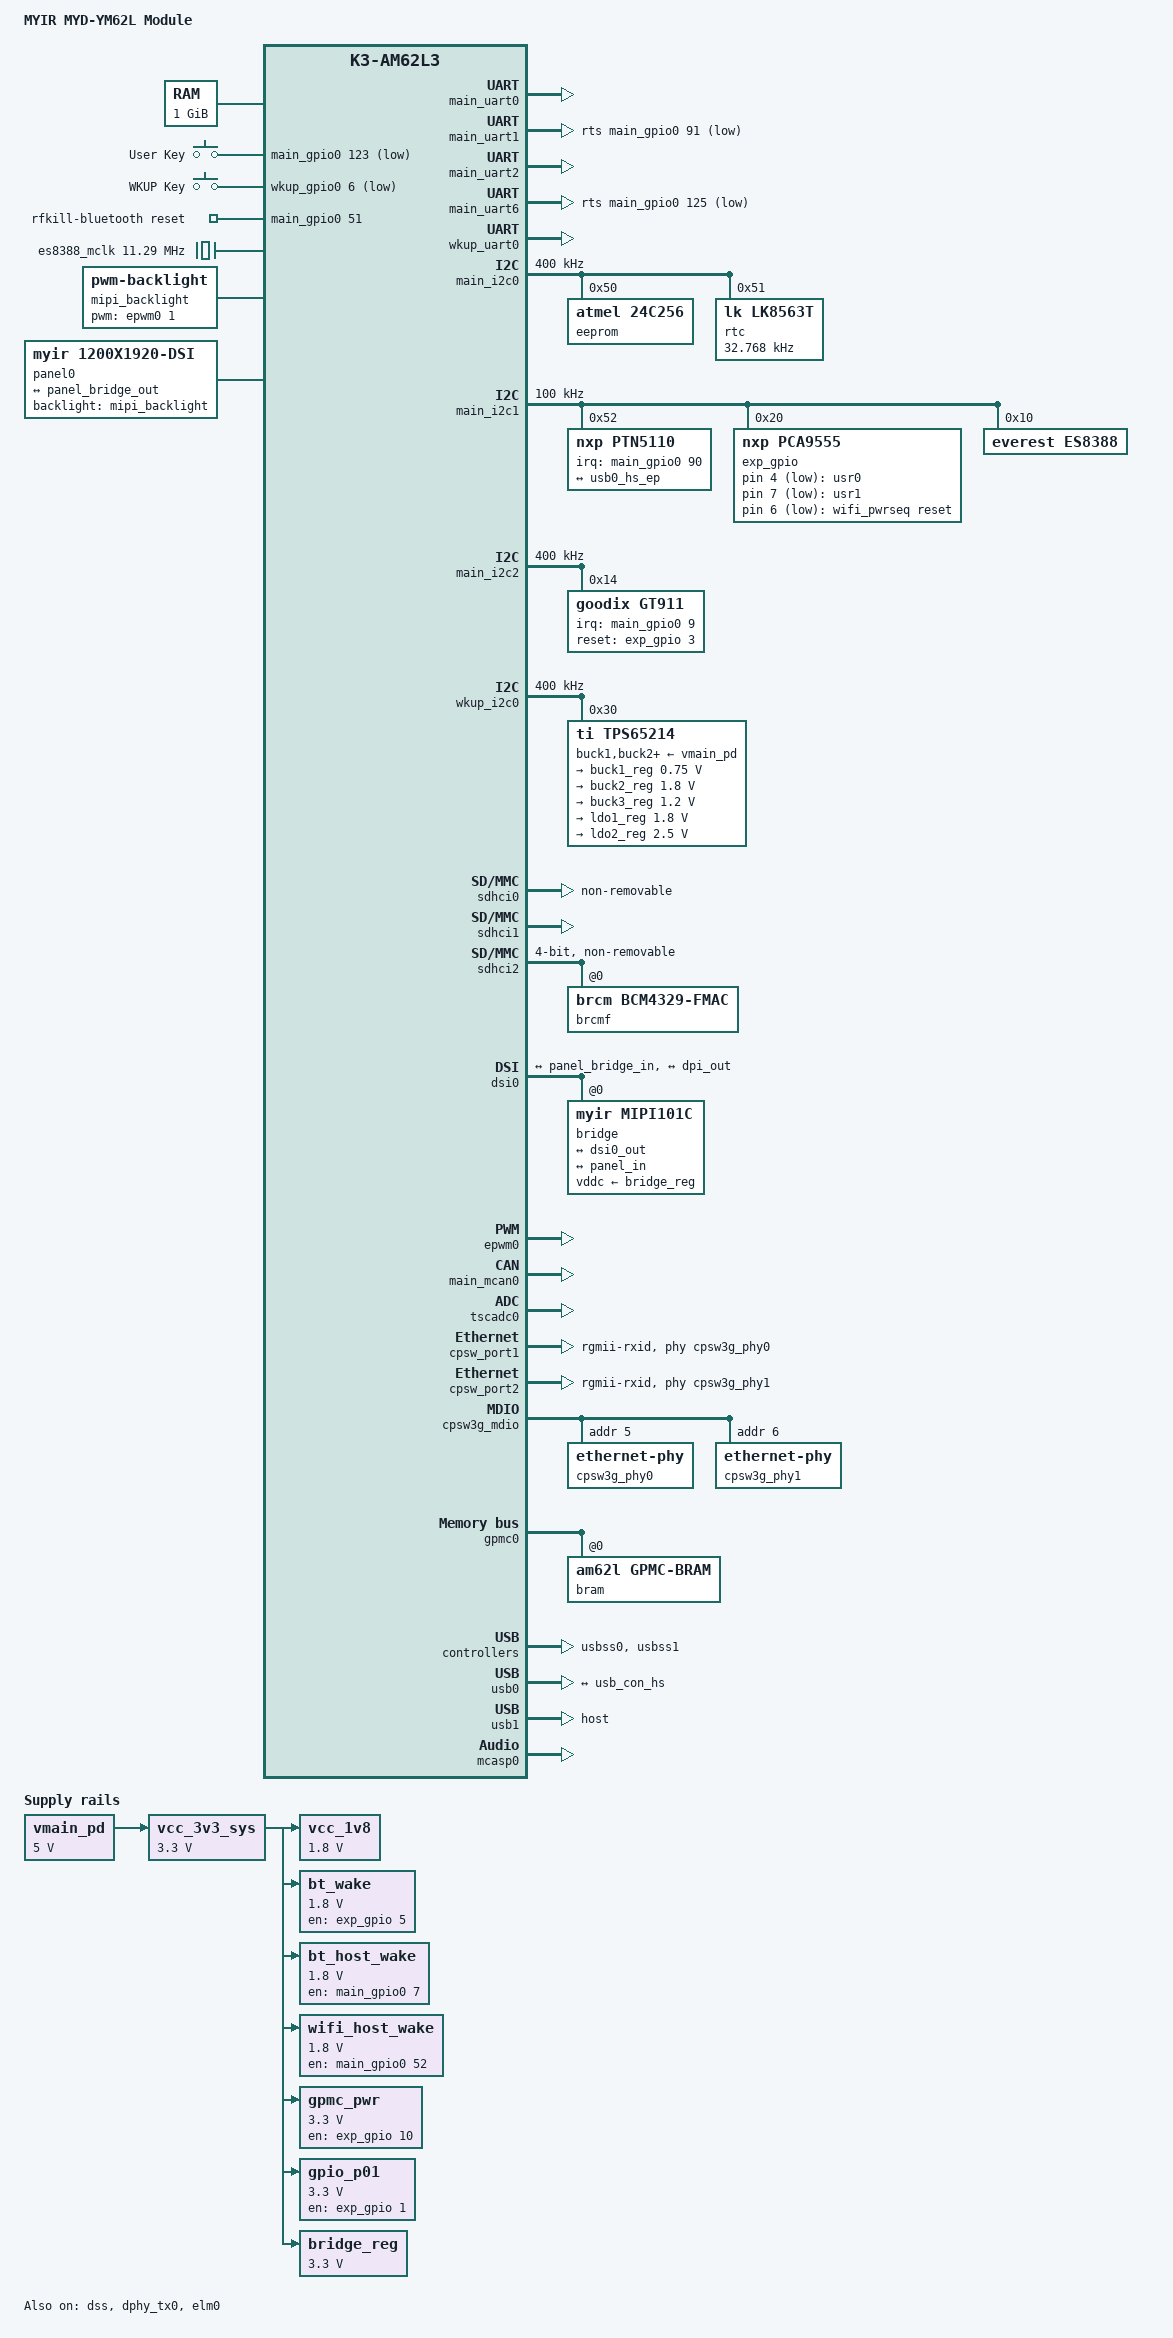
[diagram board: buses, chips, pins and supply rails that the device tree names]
// SPDX-License-Identifier: GPL-2.0-only or MIT
/*
 * Device Tree file for the MYD-YM62LX Module
 * Copyright (C) 2025 MYIR
 *
 * www.myir.cn
 */

/dts-v1/;

#include <dt-bindings/usb/pd.h>
#include <dt-bindings/gpio/gpio.h>
#include <dt-bindings/input/input.h>
#include <dt-bindings/leds/common.h>
#include <dt-bindings/net/ti-dp83867.h>
#include <dt-bindings/pwm/pwm.h>
#include "k3-am62l3.dtsi"
#include "k3-pinctrl.h"

/ {
	compatible = "ti,am62l3-evm", "ti,am62l3";
	model = "MYIR MYD-YM62L Module";

	aliases {
		mmc0 = &sdhci0;
		mmc1 = &sdhci1;
		mmc2 = &sdhci2;
	};

	chosen {
		stdout-path = &main_uart0;
	};

	memory@80000000 {
		reg = <0x00000000 0x80000000 0x00000000 0x40000000>;
		device_type = "memory";
		bootph-all;
	};

	usr_keys: usr-keys {
		compatible = "gpio-keys";
		autorepeat;
		pinctrl-names = "default";
		pinctrl-0 = <&usr_button_pins_default>;

		usr: button-usr {
			label = "User Key";
			linux,code = <BTN_0>;
			gpios = <&main_gpio0 123 GPIO_ACTIVE_LOW>;
		};
	};

	wkup_keys: wkup-keys {
		compatible = "gpio-keys";
		autorepeat;
		pinctrl-names = "default";
		pinctrl-0 = <&wkup_button_pins_default>;

		wkup: button-wkup {
			label = "WKUP Key";
			linux,code = <KEY_WAKEUP>;
			gpios = <&wkup_gpio0 6 GPIO_ACTIVE_LOW>;
		};
	};

	leds {
		compatible = "gpio-leds";

		led-0 {
			label = "usr0";
			gpios = <&exp_gpio 4 GPIO_ACTIVE_LOW>;
			linux,default-trigger = "heartbeat";
			function = LED_FUNCTION_HEARTBEAT;
			default-state = "on";
		};

		led-1 {
			label = "usr1";
			gpios = <&exp_gpio 7 GPIO_ACTIVE_LOW>;
			linux,default-trigger = "heartbeat";
			function = LED_FUNCTION_HEARTBEAT;
			default-state = "on";
		};
	};

	vmain_pd: regulator-0 {
		/* TPS65988 PD CONTROLLER OUTPUT */
		bootph-all;
		compatible = "regulator-fixed";
		regulator-name = "vmain_pd";
		regulator-min-microvolt = <5000000>;
		regulator-max-microvolt = <5000000>;
		regulator-always-on;
		regulator-boot-on;
	};

	vcc_3v3_sys: regulator-1 {
		/* output of LM61460-Q1 */
		compatible = "regulator-fixed";
		regulator-name = "vcc_3v3_sys";
		regulator-min-microvolt = <3300000>;
		regulator-max-microvolt = <3300000>;
		vin-supply = <&vmain_pd>;
		regulator-always-on;
		regulator-boot-on;
	};

	vcc_1v8: regulator-3 {
		/* output of TPS6282518DMQ */
		compatible = "regulator-fixed";
		regulator-name = "vcc_1v8";
		regulator-min-microvolt = <1800000>;
		regulator-max-microvolt = <1800000>;
		vin-supply = <&vcc_3v3_sys>;
		regulator-always-on;
		regulator-boot-on;
	};

	bt_wake: regulator-4 {
		compatible = "regulator-fixed";
		regulator-name = "bt_wake";
		regulator-min-microvolt = <1800000>;
		regulator-max-microvolt = <1800000>;
		enable-active-high;
		regulator-always-on;
		regulator-boot-on;
		vin-supply = <&vcc_3v3_sys>;
		gpios = <&exp_gpio 5 GPIO_ACTIVE_HIGH>;
	};

	bt_host_wake: regulator-5 {
		compatible = "regulator-fixed";
		regulator-name = "bt_host_wake";
		regulator-min-microvolt = <1800000>;
		regulator-max-microvolt = <1800000>;
		enable-active-high;
		regulator-always-on;
		regulator-boot-on;
		vin-supply = <&vcc_3v3_sys>;
		gpios = <&main_gpio0 7 GPIO_ACTIVE_HIGH>;
		pinctrl-names = "default";
		pinctrl-0 = <&bt_host_wake_pins_default>;
	};

	wifi_host_wake: regulator-6 {
		compatible = "regulator-fixed";
		regulator-name = "wifi_host_wake";
		regulator-min-microvolt = <1800000>;
		regulator-max-microvolt = <1800000>;
		enable-active-high;
		regulator-always-on;
		regulator-boot-on;
		vin-supply = <&vcc_3v3_sys>;
		gpios = <&main_gpio0 52 GPIO_ACTIVE_HIGH>;
		pinctrl-names = "default";
		pinctrl-0 = <&wlan_gpio_pins_default>;
	};

	gpmc_pwr: regulator-7 {
		compatible = "regulator-fixed";
		regulator-name = "gpmc_pwr";
		regulator-min-microvolt = <3300000>;
		regulator-max-microvolt = <3300000>;
		enable-active-high;
		regulator-always-on;
		regulator-boot-on;
		vin-supply = <&vcc_3v3_sys>;
		gpios = <&exp_gpio 10 GPIO_ACTIVE_HIGH>;
	};

	gpio_p01: regulator-8 {
		compatible = "regulator-fixed";
		regulator-name = "gpio_p01";
		regulator-min-microvolt = <3300000>;
		regulator-max-microvolt = <3300000>;
		enable-active-high;
		regulator-always-on;
		regulator-boot-on;
		vin-supply = <&vcc_3v3_sys>;
		gpios = <&exp_gpio 1 GPIO_ACTIVE_HIGH>;
	};

	bridge_reg: bridge-regulator {
		compatible = "regulator-fixed";
		regulator-name = "bridge_reg";
		regulator-min-microvolt = <3300000>;
		regulator-max-microvolt = <3300000>;
		enable-active-high;
		regulator-always-on;
		regulator-boot-on;
		vin-supply = <&vcc_3v3_sys>;
	};

	rfkill {
		compatible = "rfkill-gpio";
		label = "rfkill-bluetooth";
		radio-type = "bluetooth";
		reset-gpios = <&main_gpio0 51 GPIO_ACTIVE_HIGH>;
		pinctrl-names = "default";
		pinctrl-0 = <&bt_rst_pins_default>;
	};

	wifi_pwrseq: wifi-pwrseq {
		compatible = "mmc-pwrseq-simple";
		reset-gpios = <&exp_gpio 6 GPIO_ACTIVE_LOW>;
	};

	es8388_mclk: clk-0 {
		#clock-cells = <0>;
		compatible = "fixed-clock";
		clock-frequency = <11289600>;
	};

	codec_audio: sound {
		compatible = "simple-audio-card";
		simple-audio-card,name = "AM62L-SKEVM";
		simple-audio-card,widgets =
			"Headphone",	"Headphone Jack",
			"Line",		"Line In",
			"Microphone",	"Microphone Jack";
		simple-audio-card,routing =
			"Headphone Jack", "LOUT1",
			"Headphone Jack", "ROUT1",
			"LINPUT1", "Headphone Jack",
			"RINPUT1", "Headphone Jack",
			"Microphone Jack",	"Mic Bias";
		simple-audio-card,format = "i2s";
		simple-audio-card,bitclock-master = <&sound_master>;
		simple-audio-card,frame-master = <&sound_master>;

		simple-audio-card,cpu {
			sound-dai = <&mcasp0>;
		};

		sound_master: simple-audio-card,codec {
			sound-dai = <&es8388>;
			clocks = <&es8388_mclk>;
		};
	};

	mipi_backlight: mipi-backlight {
		compatible = "pwm-backlight";
		pwms = <&epwm0 1 50000 0>;
		status = "okay";
		brightness-levels =
			< 0  1  2  3  4  5  6  7  8  9
			10 11 12 13 14 15 16 17 18 19
			20 21 22 23 24 25 26 27 28 29
			30 31 32 33 34 35 36 37 38 39
			40 41 42 43 44 45 46 47 48 49
			50 51 52 53 54 55 56 57 58 59
			60 61 62 63 64 65 66 67 68 69
			70 71 72 73 74 75 76 77 78 79
			80 81 82 83 84 85 86 87 88 89
			90 91 92 93 94 95 96 97 98 99
			100>;
		default-brightness-level = <80>;
	};

	panel0 {
		compatible = "myir,1200x1920-dsi";
		backlight = <&mipi_backlight>;

		port {
			panel_in: endpoint {
				remote-endpoint = <&panel_bridge_out>;
			};
		};
	};
};

&pmx0 {
	wkup_uart0_pins_default: wkup-uart0-default-pins {
		pinctrl-single,pins = <
			AM62LX_IOPAD(0x0008, PIN_INPUT, 0) /* (W23) WKUP_UART0_CTSn */
			AM62LX_IOPAD(0x000c, PIN_OUTPUT, 0) /* (W22) WKUP_UART0_RTSn */
			AM62LX_IOPAD(0x0000, PIN_INPUT, 0) /* (Y22) WKUP_UART0_RXD */
			AM62LX_IOPAD(0x0004, PIN_OUTPUT, 0) /* (AA23) WKUP_UART0_TXD */
		>;
		bootph-all;
	};

	main_uart0_pins_default: main-uart0-default-pins {
		pinctrl-single,pins = <
			AM62LX_IOPAD(0x01b4, PIN_INPUT, 0)	/* (D13) UART0_RXD */
			AM62LX_IOPAD(0x01b8, PIN_OUTPUT, 0)	/* (C13) UART0_TXD */
		>;
		bootph-all;
	};

	main_uart1_pins_default: main-uart1-default-pins {
		pinctrl-single,pins = <
			AM62LX_IOPAD(0x0198, PIN_INPUT, 2) /* (C11) MCASP0_AFSR.UART1_RXD */
			AM62LX_IOPAD(0x019c, PIN_OUTPUT, 2) /* (A12) MCASP0_ACLKR.UART1_TXD */
		>;
		bootph-all;
	};

	main_uart1_rts_pins_default: main-uart1-rts-default-pins {
		pinctrl-single,pins = <
			AM62LX_IOPAD(0x01b0, PIN_OUTPUT, 7) /* (B12) SPI0_D1.GPIO0_91 */
		>;
		bootph-all;
	};

	main_uart2_pins_default: main-uart2-default-pins {
		pinctrl-single,pins = <
			AM62LX_IOPAD(0x01bc, PIN_INPUT, 3) /* (B14) UART0_CTSn.UART2_RXD */
			AM62LX_IOPAD(0x01c0, PIN_OUTPUT, 3) /* (B13) UART0_RTSn.UART2_TXD */
		>;
		bootph-all;
	};

	main_uart6_pins_default: main-uart6-default-pins {
		pinctrl-single,pins = <
			AM62LX_IOPAD(0x0180, PIN_INPUT, 3) /* (A8) MCASP0_AXR3.UART6_RXD */
			AM62LX_IOPAD(0x0184, PIN_OUTPUT, 3) /* (B10) MCASP0_AXR2.UART6_TXD */
		>;
		bootph-all;
	};

	main_uart6_rts_pins_default: main-uart6-rts-default-pins {
		pinctrl-single,pins = <
			AM62LX_IOPAD(0x0248, PIN_OUTPUT, 7) /* (A5) USB1_DRVVBUS.GPIO0_125 */
		>;
		bootph-all;
	};

	wkup_i2c0_pins_default: wkup-i2c0-default-pins {
		pinctrl-single,pins = <
			AM62LX_IOPAD(0x0010, PIN_INPUT_PULLUP, 0) /* (AB22) WKUP_I2C0_SCL */
			AM62LX_IOPAD(0x0014, PIN_INPUT_PULLUP, 0) /* (AA22) WKUP_I2C0_SDA */
		>;
	};

	main_i2c0_pins_default: main-i2c0-default-pins {
		pinctrl-single,pins = <
			AM62LX_IOPAD(0x01cc, PIN_INPUT_PULLUP, 0) /* (B7) I2C0_SCL */
			AM62LX_IOPAD(0x01d0, PIN_INPUT_PULLUP, 0) /* (A7) I2C0_SDA */
		>;
		bootph-all;
	};

	main_i2c1_pins_default: main-i2c1-default-pins {
		pinctrl-single,pins = <
			AM62LX_IOPAD(0x01d4, PIN_INPUT_PULLUP, 0) /* (D7) I2C1_SCL */
			AM62LX_IOPAD(0x01d8, PIN_INPUT_PULLUP, 0) /* (A6) I2C1_SDA */
		>;
		bootph-all;
	};

	main_i2c2_pins_default: main-i2c2-default-pins {
		pinctrl-single,pins = <
			AM62LX_IOPAD(0x01dc, PIN_INPUT_PULLUP, 0) /* (B8) I2C2_SCL */
			AM62LX_IOPAD(0x01e0, PIN_INPUT_PULLUP, 0) /* (D8) I2C2_SDA */
		>;
	};

	ospi0_pins_default: ospi0-default-pins {
		bootph-all;
		pinctrl-single,pins = <
			AM62LX_IOPAD(0x003c, PIN_OUTPUT, 0) /* (D22) OSPI0_CLK */
			AM62LX_IOPAD(0x0068, PIN_OUTPUT, 0) /* (C20) OSPI0_CSn0 */
			AM62LX_IOPAD(0x0048, PIN_INPUT, 0) /* (C22) OSPI0_D0 */
			AM62LX_IOPAD(0x004c, PIN_INPUT, 0) /* (D21) OSPI0_D1 */
			AM62LX_IOPAD(0x0050, PIN_INPUT, 0) /* (E23) OSPI0_D2 */
			AM62LX_IOPAD(0x0054, PIN_INPUT, 0) /* (D23) OSPI0_D3 */
		>;
	};

	main_gpio0_ioexp_intr_pins_default: main-gpio0-ioexp-intr-default-pins {
		pinctrl-single,pins = <
			AM62LX_IOPAD(0x01b0, PIN_INPUT, 7) /* (B12) SPI0_D1.GPIO0_91 */
		>;
		bootph-all;
	};

	typec1_int_pins_default: typec1-int-default-pins {
		pinctrl-single,pins = <
			AM62LX_IOPAD(0x01ac, PIN_INPUT, 7) /* (E12) SPI0_D0.GPIO0_90 */
		>;
	};

	usr_button_pins_default: usr-button-default-pins {
		pinctrl-single,pins = <
			AM62LX_IOPAD(0x0238, PIN_INPUT, 7) /* (D24) MMC1_SDWP.GPIO0_123 */
		>;
	};

	wkup_button_pins_default: wkup-button-default-pins {
		pinctrl-single,pins = <
			AM62LX_IOPAD(0x0018, PIN_INPUT, 7) /* (Y23) WKUP_CLKOUT0.GPIO0_6 */
		>;
	};

	bt_host_wake_pins_default: bt-host-wake-default-pins {
		pinctrl-single,pins = <
			AM62LX_IOPAD(0x0058, PIN_INPUT, 7) /* (F21) OSPI0_D4.GPIO0_7 */
		>;
	};

	bt_rst_pins_default: bt-rst-default-pins {
		pinctrl-single,pins = <
			AM62LX_IOPAD(0x0110, PIN_INPUT, 7) /* (T20) MMC2_SDCD.GPIO0_51 */
		>;
	};

	pmic_irq_pins_default: pmic-irq-default-pins {
		pinctrl-single,pins = <
			AM62LX_IOPAD(0x01e8, PIN_INPUT, 0) /* (C8) EXTINTn */
		>;
	};

	main_mmc0_pins_default: main-mmc0-default-pins {
		pinctrl-single,pins = <
			AM62LX_IOPAD(0x0214, PIN_INPUT_PULLUP, 0) /* (D2) MMC0_CMD */
			AM62LX_IOPAD(0x020c, PIN_OUTPUT, 0) /* (B2) MMC0_CLK */
			AM62LX_IOPAD(0x0208, PIN_INPUT_PULLUP, 0) /* (D3) MMC0_DAT0 */
			AM62LX_IOPAD(0x0204, PIN_INPUT_PULLUP, 0) /* (D4) MMC0_DAT1 */
			AM62LX_IOPAD(0x0200, PIN_INPUT_PULLUP, 0) /* (C1) MMC0_DAT2 */
			AM62LX_IOPAD(0x01fc, PIN_INPUT_PULLUP, 0) /* (C2) MMC0_DAT3 */
			AM62LX_IOPAD(0x01f8, PIN_INPUT_PULLUP, 0) /* (C4) MMC0_DAT4 */
			AM62LX_IOPAD(0x01f4, PIN_INPUT_PULLUP, 0) /* (B3) MMC0_DAT5 */
			AM62LX_IOPAD(0x01f0, PIN_INPUT_PULLUP, 0) /* (A3) MMC0_DAT6 */
			AM62LX_IOPAD(0x01ec, PIN_INPUT_PULLUP, 0) /* (B4) MMC0_DAT7 */
		>;
		bootph-all;
	};

	main_mmc1_pins_default: main-mmc1-default-pins {
		pinctrl-single,pins = <
			AM62LX_IOPAD(0x0230, PIN_INPUT, 0) /* (Y3) MMC1_CMD */
			AM62LX_IOPAD(0x0228, PIN_OUTPUT, 0) /* (Y2) MMC1_CLK */
			AM62LX_IOPAD(0x0224, PIN_INPUT, 0) /* (AA1) MMC1_DAT0 */
			AM62LX_IOPAD(0x0220, PIN_INPUT_PULLUP, 0) /* (Y4) MMC1_DAT1 */
			AM62LX_IOPAD(0x021c, PIN_INPUT_PULLUP, 0) /* (AA2) MMC1_DAT2 */
			AM62LX_IOPAD(0x0218, PIN_INPUT_PULLUP, 0) /* (AB2) MMC1_DAT3 */
			AM62LX_IOPAD(0x0234, PIN_INPUT, 0) /* (B6) MMC1_SDCD */
		>;
		bootph-all;
	};

	main_mmc2_pins_default: main-mmc2-default-pins {
		pinctrl-single,pins = <
			AM62LX_IOPAD(0x010c, PIN_INPUT, 0) /* (U23) MMC2_CMD */
			AM62LX_IOPAD(0x0104, PIN_OUTPUT, 0) /* (R23) MMC2_CLK */
			AM62LX_IOPAD(0x0108, PIN_INPUT, 0) /* () MMC2_CLKLB */
			AM62LX_IOPAD(0x0100, PIN_INPUT, 0) /* (U22) MMC2_DAT0 */
			AM62LX_IOPAD(0x00fc, PIN_INPUT, 0) /* (T22) MMC2_DAT1 */
			AM62LX_IOPAD(0x00f8, PIN_INPUT, 0) /* (T23) MMC2_DAT2 */
			AM62LX_IOPAD(0x00f4, PIN_INPUT, 0) /* (R22) MMC2_DAT3 */
		>;
	};

	wlan_gpio_pins_default: wlan-gpio-default-pins {
		pinctrl-single,pins = <
			AM62LX_IOPAD(0x0114, PIN_INPUT, 7) /* (T21) MMC2_SDWP.GPIO0_52 */
		>;
		bootph-all;
	};

	main_mcan0_pins_default: main-mcan0-default-pins {
		pinctrl-single,pins = <
			AM62LX_IOPAD(0x01c8, PIN_INPUT, 0) /* (B15) MCAN0_RX */
			AM62LX_IOPAD(0x01c4, PIN_OUTPUT, 0) /* (B16) MCAN0_TX */
		>;
	};

	main_mcan2_pins_default: main-mcan2-default-pins {
		pinctrl-single,pins = <
			AM62LX_IOPAD(0x01bc, PIN_INPUT, 6) /* (B14) UART0_CTSn.MCAN2_RX */
			AM62LX_IOPAD(0x01c0, PIN_OUTPUT, 6) /* (B13) UART0_RTSn.MCAN2_TX */
		>;
	};

	gpmc0_pins_default: gpmc0-default-pins {
		pinctrl-single,pins = <
			AM62LX_IOPAD(0x0078, PIN_INPUT, 0) /* (L22) GPMC0_AD0 */
			AM62LX_IOPAD(0x007c, PIN_INPUT, 0) /* (L23) GPMC0_AD1 */
			AM62LX_IOPAD(0x0080, PIN_INPUT, 0) /* (K22) GPMC0_AD2 */
			AM62LX_IOPAD(0x0084, PIN_INPUT, 0) /* (J23) GPMC0_AD3 */
			AM62LX_IOPAD(0x0088, PIN_INPUT, 0) /* (K23) GPMC0_AD4 */
			AM62LX_IOPAD(0x008c, PIN_INPUT, 0) /* (H22) GPMC0_AD5 */
			AM62LX_IOPAD(0x0090, PIN_INPUT, 0) /* (H23) GPMC0_AD6 */
			AM62LX_IOPAD(0x0094, PIN_INPUT, 0) /* (J22) GPMC0_AD7 */
			AM62LX_IOPAD(0x0098, PIN_INPUT, 0) /* (H19) GPMC0_AD8 */
			AM62LX_IOPAD(0x009c, PIN_INPUT, 0) /* (H20) GPMC0_AD9 */
			AM62LX_IOPAD(0x00a0, PIN_INPUT, 0) /* (H21) GPMC0_AD10 */
			AM62LX_IOPAD(0x00a4, PIN_INPUT, 0) /* (H18) GPMC0_AD11 */
			AM62LX_IOPAD(0x00a8, PIN_INPUT, 0) /* (G23) GPMC0_AD12 */
			AM62LX_IOPAD(0x00ac, PIN_INPUT, 0) /* (G22) GPMC0_AD13 */
			AM62LX_IOPAD(0x00b0, PIN_INPUT, 0) /* (F22) GPMC0_AD14 */
			AM62LX_IOPAD(0x00b4, PIN_INPUT, 0) /* (F23) GPMC0_AD15 */
			AM62LX_IOPAD(0x00d4, PIN_INPUT_PULLUP, 0) /* (N23) GPMC0_WAIT0 */
			// AM62LX_IOPAD(0x00d8, PIN_INPUT, 0) /* (N22) GPMC0_WAIT1 */
			AM62LX_IOPAD(0x00b8, PIN_OUTPUT, 0) /* (L21) GPMC0_CLK */
			AM62LX_IOPAD(0x00e4, PIN_OUTPUT, 0) /* (L20) GPMC0_CSn0 */
			// AM62LX_IOPAD(0x00e8, PIN_OUTPUT, 0) /* (L19) GPMC0_CSn1 */
			// AM62LX_IOPAD(0x00ec, PIN_OUTPUT, 0) /* (M23) GPMC0_CSn2 */
			// AM62LX_IOPAD(0x00f0, PIN_OUTPUT, 0) /* (M22) GPMC0_CSn3 */
			// AM62LX_IOPAD(0x00d0, PIN_OUTPUT, 0) /* (P22) GPMC0_BE1n */
			AM62LX_IOPAD(0x00c0, PIN_OUTPUT, 0) /* (N19) GPMC0_ADVn_ALE */
			// AM62LX_IOPAD(0x00e0, PIN_OUTPUT, 0) /* (M21) GPMC0_DIR */
			AM62LX_IOPAD(0x00c4, PIN_OUTPUT, 0) /* (N20) GPMC0_OEn_REn */
			AM62LX_IOPAD(0x00c8, PIN_OUTPUT, 0) /* (M19) GPMC0_WEn */
			// AM62LX_IOPAD(0x00cc, PIN_OUTPUT, 0) /* (P23) GPMC0_BE0n_CLE */
			// AM62LX_IOPAD(0x00dc, PIN_OUTPUT, 0) /* (N21) GPMC0_WPn */
		>;
	};

	rgmii1_pins_default: rgmii1-default-pins {
		pinctrl-single,pins = <
			AM62PX_IOPAD(0x0138, PIN_INPUT, 0) /* (Y8) RGMII1_RD0 */
			AM62PX_IOPAD(0x013c, PIN_INPUT, 0) /* (AA6) RGMII1_RD1 */
			AM62PX_IOPAD(0x0140, PIN_INPUT, 0) /* (AA8) RGMII1_RD2 */
			AM62PX_IOPAD(0x0144, PIN_INPUT, 0) /* (W8) RGMII1_RD3 */
			AM62PX_IOPAD(0x0134, PIN_INPUT, 0) /* (Y7) RGMII1_RXC */
			AM62PX_IOPAD(0x0130, PIN_INPUT, 0) /* (Y6) RGMII1_RX_CTL */
			AM62PX_IOPAD(0x0120, PIN_OUTPUT, 0) /* (AC10) RGMII1_TD0 */
			AM62PX_IOPAD(0x0124, PIN_OUTPUT, 0) /* (W13) RGMII1_TD1 */
			AM62PX_IOPAD(0x0128, PIN_OUTPUT, 0) /* (Y11) RGMII1_TD2 */
			AM62PX_IOPAD(0x012c, PIN_OUTPUT, 0) /* (AA11) RGMII1_TD3 */
			AM62PX_IOPAD(0x011c, PIN_OUTPUT, 0) /* (W11) RGMII1_TXC */
			AM62PX_IOPAD(0x0118, PIN_OUTPUT, 0) /* (AB11) RGMII1_TX_CTL */
		>;
	};

	rgmii2_pins_default: rgmii2-default-pins {
		pinctrl-single,pins = <
			AM62PX_IOPAD(0x0170, PIN_INPUT, 0) /* (AB9) RGMII2_RD0 */
			AM62PX_IOPAD(0x0174, PIN_INPUT, 0) /* (AC9) RGMII2_RD1 */
			AM62PX_IOPAD(0x0178, PIN_INPUT, 0) /* (AB10) RGMII2_RD2 */
			AM62PX_IOPAD(0x017c, PIN_INPUT, 0) /* (AB8) RGMII2_RD3 */
			AM62PX_IOPAD(0x016c, PIN_INPUT, 0) /* (AC7) RGMII2_RXC */
			AM62PX_IOPAD(0x0168, PIN_INPUT, 0) /* (AC8) RGMII2_RX_CTL */
			AM62PX_IOPAD(0x0158, PIN_OUTPUT, 0) /* (AC12) RGMII2_TD0 */
			AM62PX_IOPAD(0x015c, PIN_OUTPUT, 0) /* (AB13) RGMII2_TD1 */
			AM62PX_IOPAD(0x0160, PIN_OUTPUT, 0) /* (AA12) RGMII2_TD2 */
			AM62PX_IOPAD(0x0164, PIN_OUTPUT, 0) /* (AA13) RGMII2_TD3 */
			AM62PX_IOPAD(0x0154, PIN_OUTPUT, 0) /* (Y13) RGMII2_TXC */
			AM62PX_IOPAD(0x0150, PIN_OUTPUT, 0) /* (AB12) RGMII2_TX_CTL */
		>;
	};

	mdio1_pins_default: mdio1-default-pins {
		pinctrl-single,pins = <
			AM62PX_IOPAD(0x014c, PIN_OUTPUT, 0) /* (AC15) MDIO0_MDC */
			AM62PX_IOPAD(0x0148, PIN_INPUT, 0) /* (AC13) MDIO0_MDIO */
		>;
	};

	phy_reset_pins_default: phy-reset-default-pins {
		pinctrl-single,pins = <
			AM62LX_IOPAD(0x01a0, PIN_INPUT, 7) /* (E11) SPI0_CS0.GPIO0_87 */
			AM62LX_IOPAD(0x01a8, PIN_INPUT, 7) /* (E13) SPI0_CLK.GPIO0_89 */
		>;
	};

	main_usb1_default_pins: main-usb1-default-pins {
		pinctrl-single,pins = <
			AM62LX_IOPAD(0x0248, PIN_INPUT | PIN_DS_PULLUD_ENABLE | PIN_DS_PULL_UP, 0) /* (A5) USB1_DRVVBUS */
		>;
	};

	main_mcasp0_pins_default: main-mcasp0-default-pins {
		pinctrl-single,pins = <
			AM62PX_IOPAD(0x0190, PIN_INPUT, 0) /* (A11) MCASP0_ACLKX */
			AM62PX_IOPAD(0x0194, PIN_INPUT, 0) /* (B11) MCASP0_AFSX */
			AM62PX_IOPAD(0x018c, PIN_INPUT, 0) /* (B9) MCASP0_AXR0 */
			AM62PX_IOPAD(0x0188, PIN_INPUT, 0) /* (A9) MCASP0_AXR1 */
		>;
	};

	main_epwm0_pins_default: main-epwm0-default-pins {
		pinctrl-single,pins = <
			AM62LX_IOPAD(0x01a4, PIN_OUTPUT, 2) /* (D11) SPI0_CS1.EHRPWM0_B */
		>;
	};

	main_gt911_pins_default: main-gt911-default-pins {
		pinctrl-single,pins = <
			AM62LX_IOPAD(0x0060, PIN_INPUT, 7) /* (G20) OSPI0_D6.GPIO0_9 */
		>;
	};
};

&main_uart0 {
	pinctrl-names = "default";
	pinctrl-0 = <&main_uart0_pins_default>;
	status = "okay";
	bootph-all;
};

&main_uart1 {
	pinctrl-names = "default";
	pinctrl-0 = <&main_uart1_pins_default &main_uart1_rts_pins_default>;
	rts-gpios = <&main_gpio0 91 GPIO_ACTIVE_LOW>;
	rs485-rts-active-low;
	rs485-rx-during-tx;
	rs485-rts-delay = <1 1>;
	linux,rs485-enabled-at-boot-time;
	status = "okay";
	bootph-all;
};

&main_uart2 {
	pinctrl-names = "default";
	pinctrl-0 = <&main_uart2_pins_default>;
	status = "okay";
	bootph-all;
};

&main_uart6 {
	pinctrl-names = "default";
	pinctrl-0 = <&main_uart6_pins_default &main_uart6_rts_pins_default>;
	rts-gpios = <&main_gpio0 125 GPIO_ACTIVE_LOW>;
	rs485-rts-active-low;
	rs485-rx-during-tx;
	rs485-rts-delay = <1 1>;
	linux,rs485-enabled-at-boot-time;
	status = "okay";
	bootph-all;
};

&wkup_uart0 {
	pinctrl-names = "default";
	pinctrl-0 = <&wkup_uart0_pins_default>;
	uart-has-rtscts;
	status = "okay";
	bootph-all;
};

&main_i2c0 {
	status = "okay";
	pinctrl-names = "default";
	pinctrl-0 = <&main_i2c0_pins_default>;
	clock-frequency = <400000>;
	bootph-all;

	eeprom@50 {
		compatible = "atmel,24c256";
		reg = <0x50>;
	};

	rtc@51 {
		compatible = "lk,lk8563t";
		reg = <0x51>;
		#clock-cells = <0>;
		clock-frequency = <32768>;
		clock-output-names = "lk8563t-clkout";
	};
};

&main_i2c1 {
	status = "okay";
	pinctrl-names = "default";
	pinctrl-0 = <&main_i2c1_pins_default>;
	clock-frequency = <100000>;
	bootph-all;

	ptn5110: tcpc@52 {
		compatible = "nxp,ptn5110", "tcpci";
		pinctrl-names = "default";
		pinctrl-0 = <&typec1_int_pins_default>;
		reg = <0x52>;
		interrupt-parent = <&main_gpio0>;
		interrupts = <90 IRQ_TYPE_EDGE_FALLING>;
		status = "okay";

		typec1_con: connector {
			compatible = "usb-c-connector";
			label = "USB-C";
			power-role = "dual";
			data-role = "dual";
			try-power-role = "sink";
			source-pdos = <PDO_FIXED(5000, 3000, PDO_FIXED_USB_COMM)>;
			sink-pdos = <PDO_FIXED(5000, 3000, PDO_FIXED_USB_COMM)
				     PDO_VAR(5000, 20000, 3000)>;
			op-sink-microwatt = <15000000>;
			self-powered;

			port {
				usb_con_hs: endpoint {
					remote-endpoint = <&usb0_hs_ep>;
				};
			};
		};
	};

	exp_gpio: gpio@20 {
		compatible = "nxp,pca9555";
		reg = <0x20>;
		gpio-controller;
		#gpio-cells = <2>;
		bootph-all;
	};

	es8388: es8388@10 {
		status = "okay";
		#sound-dai-cells = <0>;
		compatible = "everest,es8388";
		reg = <0x10>;
		clocks = <&es8388_mclk>;
		clock-names = "mclk";
		assigned-clocks = <&es8388_mclk>;
		assigned-clock-rates = <11289600>;
	};
};

&main_i2c2 {
	status = "okay";
	pinctrl-names = "default";
	pinctrl-0 = <&main_i2c2_pins_default>;
	clock-frequency = <400000>;

	gt911: gt911@14 {
		compatible = "goodix,gt911";
		reg = <0x14>;
		pinctrl-names = "default";
		pinctrl-0 = <&main_gt911_pins_default>;
		interrupt-parent = <&main_gpio0>;
		interrupts = <9 IRQ_TYPE_EDGE_FALLING>;
		esd-recovery-timeout-ms = <2000>;
		irq-gpios = <&main_gpio0 9 GPIO_ACTIVE_HIGH>;
		reset-gpios = <&exp_gpio 3 GPIO_ACTIVE_HIGH>;
		status = "okay";
	};
};

&wkup_i2c0 {
	status = "okay";
	pinctrl-names = "default";
	pinctrl-0 = <&wkup_i2c0_pins_default>;
	clock-frequency = <400000>;

	tps65214: pmic@30 {
		compatible = "ti,tps65214";
		reg = <0x30>;
		interrupt-parent = <&gic500>;
		interrupts = <GIC_SPI 224 IRQ_TYPE_LEVEL_HIGH>;
		pinctrl-0 = <&pmic_irq_pins_default>;
		ti,power-button;

		buck1-supply = <&vmain_pd>;
		buck2-supply = <&vmain_pd>;
		buck3-supply = <&vmain_pd>;
		ldo1-supply = <&vmain_pd>;
		ldo2-supply = <&vmain_pd>;

		regulators {
			buck1_reg: buck1 {
				regulator-name = "VDD_CORE";
				regulator-min-microvolt = <750000>;
				regulator-max-microvolt = <750000>;
				regulator-boot-on;
				regulator-always-on;
			};

			buck2_reg: buck2 {
				regulator-name = "DVDD_1V8";
				regulator-min-microvolt = <1800000>;
				regulator-max-microvolt = <1800000>;
				regulator-boot-on;
				regulator-always-on;
			};

			buck3_reg: buck3 {
				regulator-name = "VDD_DDR4";
				regulator-min-microvolt = <1200000>;
				regulator-max-microvolt = <1200000>;
				regulator-boot-on;
				regulator-always-on;
			};

			ldo1_reg: ldo1 {
				regulator-name = "VDD_1V8";
				regulator-min-microvolt = <1800000>;
				regulator-max-microvolt = <1800000>;
				regulator-boot-on;
				regulator-always-on;
			};

			ldo2_reg: ldo2 {
				regulator-name = "VDDA_2V5";
				regulator-min-microvolt = <2500000>;
				regulator-max-microvolt = <2500000>;
				regulator-boot-on;
				regulator-always-on;
			};
		};
	};
};

&main_gpio0 {
	status = "okay";
	bootph-all;
	pinctrl-names = "default";
	pinctrl-0 = <&phy_reset_pins_default>;
};

&main_gpio2 {
	status = "okay";
	bootph-all;
};

&wkup_gpio0 {
	status = "okay";
	bootph-all;
};

&sdhci0 {
	/* eMMC */
	non-removable;
	pinctrl-names = "default";
	pinctrl-0 = <&main_mmc0_pins_default>;
	status = "okay";
	bootph-all;
};

&sdhci1 {
	/* SD/MMC */
	pinctrl-names = "default";
	pinctrl-0 = <&main_mmc1_pins_default>;
	status = "okay";
	bootph-all;
	disable-wp;
};

&sdhci2 {
	/* WIFI */
	#address-cells = <2>;
	#size-cells = <1>;
	bootph-all;
	pinctrl-names = "default";
	pinctrl-0 = <&main_mmc2_pins_default>;
	bus-width = <4>;
	non-removable;
	ti,fails-without-test-cd;
	cap-power-off-card;
	keep-power-in-suspend;
	ti,driver-strength-ohm = <50>;
	mmc-pwrseq = <&wifi_pwrseq>;
	status = "okay";

	brcmf: wifi@1 {
		#address-cells = <2>;
		#size-cells = <1>;
		reg = <0x0 0x1 0x1000>;
		compatible = "brcm,bcm4329-fmac";
		status = "okay";
	};
};

&ospi0 {
	bootph-all;
	status = "disabled";
	pinctrl-names = "default";
	pinctrl-0 = <&ospi0_pins_default>;

	nand: flash@0 {
		bootph-all;
		compatible = "spi-nand";
		reg = <0x0>;
		spi-tx-bus-width = <4>;
		spi-rx-bus-width = <4>;
		spi-max-frequency = <25000000>;
		cdns,tshsl-ns = <60>;
		cdns,tsd2d-ns = <60>;
		cdns,tchsh-ns = <60>;
		cdns,tslch-ns = <60>;
		cdns,read-delay = <4>;
		cdns,phy-mode;

		partitions {
			bootph-all;
			compatible = "fixed-partitions";
			#address-cells = <1>;
			#size-cells = <1>;

			partition@0 {
				label = "nand.tiboot3";
				reg = <0x0 0x80000>;	/* 512KB */
			};

			partition@80000 {
				label = "nand.tispl";
				reg = <0x80000 0x200000>;	/* 2MB */
			};

			partition@2c0000 {
				label = "nand.u-boot";
				reg = <0x2c0000 0x300000>;	/* 3MB */
			};

			partition@5c0000 {
				label = "nand.env";
				reg = <0x5c0000 0x40000>;	/* 256KB */
			};

			partition@600000 {
				label = "nand.kernel";
				reg = <0x600000 0x1e00000>;	/* 30MB */
			};

			partition@2400000 {
				label = "nand.dtb";
				reg = <0x2400000 0x100000>;	/* 1MB */
			};

			partition@2500000 {
				label = "nand.rootfs";
				reg = <0x2500000 0x1dac0000>;	/* 474.75MB */
			};
			partition@1ffc0000 {
				bootph-all;
				label = "nand.phypattern";
				reg = <0x1ffc0000 0x40000>;	/* 256KB */
			};
		};
	};
};

&dss {
	status = "okay";
	bootph-all;
};

&dss_ports {
	#address-cells = <1>;
	#size-cells = <0>;

	port@0 {
		reg = <0>;

		dpi_out: endpoint {
			remote-endpoint = <&dsi0_in>;
		};
	};
};

&dphy_tx0 {
	status = "okay";
	bootph-all;
};

&dsi0 {
	status = "okay";
	bootph-all;
	#address-cells = <1>;
	#size-cells = <0>;

	ports {
		#address-cells = <1>;
		#size-cells = <0>;

		port@0 {
			reg = <0>;
			dsi0_out: endpoint {
				remote-endpoint = <&panel_bridge_in>;
			};
		};

		port@1 {
			reg = <1>;
			dsi0_in: endpoint {
				remote-endpoint = <&dpi_out>;
			};
		};
	};

	bridge@0 {
		compatible = "myir,mipi101c";
		reg = <0>;
		vddc-supply = <&bridge_reg>;
		ports {
			#address-cells = <1>;
			#size-cells = <0>;

			port@0 {
				reg = <0>;
				panel_bridge_in: endpoint {
					remote-endpoint = <&dsi0_out>;
				};
			};

			port@1 {
				reg = <1>;
				panel_bridge_out: endpoint {
					remote-endpoint = <&panel_in>;
				};
			};
		};
	};
};

&epwm0 {
	pinctrl-names = "default";
	pinctrl-0 = <&main_epwm0_pins_default>;
	status = "okay";
};

&main_mcan0 {
	pinctrl-names = "default";
	pinctrl-0 = <&main_mcan0_pins_default>;
	status = "okay";
};

&main_mcan2 {
	pinctrl-names = "default";
	pinctrl-0 = <&main_mcan2_pins_default>;
	status = "disabled";
};

&tscadc0 {
	status = "okay";

	adc {
		ti,adc-channels = <0 1 2 3>;
	};
};

&cpsw3g {
	pinctrl-names = "default";
	pinctrl-0 = <&rgmii1_pins_default>,
		    <&rgmii2_pins_default>;
};

&cpsw_port1 {
	phy-mode = "rgmii-rxid";
	phy-handle = <&cpsw3g_phy0>;
};

&cpsw_port2 {
	phy-mode = "rgmii-rxid";
	phy-handle = <&cpsw3g_phy1>;
};

&cpsw3g_mdio {
	pinctrl-names = "default";
	pinctrl-0 = <&mdio1_pins_default>;
	status = "okay";

	cpsw3g_phy0: ethernet-phy@5 {
		reg = <5>;
		ti,rx-internal-delay = <DP83867_RGMIIDCTL_2_00_NS>;
		ti,fifo-depth = <DP83867_PHYCR_FIFO_DEPTH_4_B_NIB>;
		ti,min-output-impedance;
	};

	cpsw3g_phy1: ethernet-phy@6 {
		reg = <6>;
		ti,rx-internal-delay = <DP83867_RGMIIDCTL_2_00_NS>;
		ti,fifo-depth = <DP83867_PHYCR_FIFO_DEPTH_4_B_NIB>;
		ti,min-output-impedance;
	};
};

&elm0 {
	status = "okay";
};

&gpmc0 {
	status = "okay";
	pinctrl-names = "default";
	pinctrl-0 = <&gpmc0_pins_default>;
	#address-cells = <2>;
	#size-cells = <1>;
	ranges = <0 0 0x00 0x51000000 0x01000000>; /* CS0 space. Min partition = 16MB */

	bram@0,0 {
		compatible = "am62l,gpmc-bram";
		reg = <0 0x0 0x01000000>;
		bank-width = <2>;
		gpmc,mux-add-data = <2>;
		gpmc,burst-length = <16>;
		gpmc,burst-read;
		gpmc,burst-write;
		gpmc,page-burst-access-ns = <0>;
		gpmc,sync-clk-ps = <0>;
		gpmc,cs-on-ns = <7>;
		gpmc,cs-rd-off-ns = <120>;
		gpmc,cs-wr-off-ns = <120>;
		gpmc,adv-on-ns = <7>;
		gpmc,adv-rd-off-ns = <15>;
		gpmc,adv-wr-off-ns = <15>;
		gpmc,we-on-ns = <30>;
		gpmc,we-off-ns = <93>;
		gpmc,oe-on-ns = <28>;
		gpmc,oe-off-ns = <120>;
		gpmc,access-ns = <120>;
		gpmc,rd-cycle-ns = <120>;
		gpmc,wr-cycle-ns = <120>;
		gpmc,bus-turnaround-ns = <0>;
		gpmc,cycle2cycle-delay-ns = <0>;
		gpmc,clk-activation-ns = <0>;
		gpmc,wr-access-ns = <112>;
		gpmc,wr-data-mux-bus-ns = <52>;
	};
};

&usbss0 {
	status = "okay";
	ti,vbus-divider;
};

&usb0 {
	usb-role-switch;

	port {
		usb0_hs_ep: endpoint {
			remote-endpoint = <&usb_con_hs>;
		};
	};
};

&usbss1 {
	status = "okay";
	ti,vbus-divider;
};

&usb1 {
	dr_mode = "host";
};

&mcasp0 {
	status = "okay";
	#sound-dai-cells = <0>;

	pinctrl-names = "default";
	pinctrl-0 = <&main_mcasp0_pins_default>;

	op-mode = <0>;          /* MCASP_IIS_MODE */
	tdm-slots = <2>;

	serial-dir = <  /* 0: INACTIVE, 1: TX, 2: RX */
	       1 2 0 0
	       0 0 0 0
	       0 0 0 0
	       0 0 0 0
	>;
};
